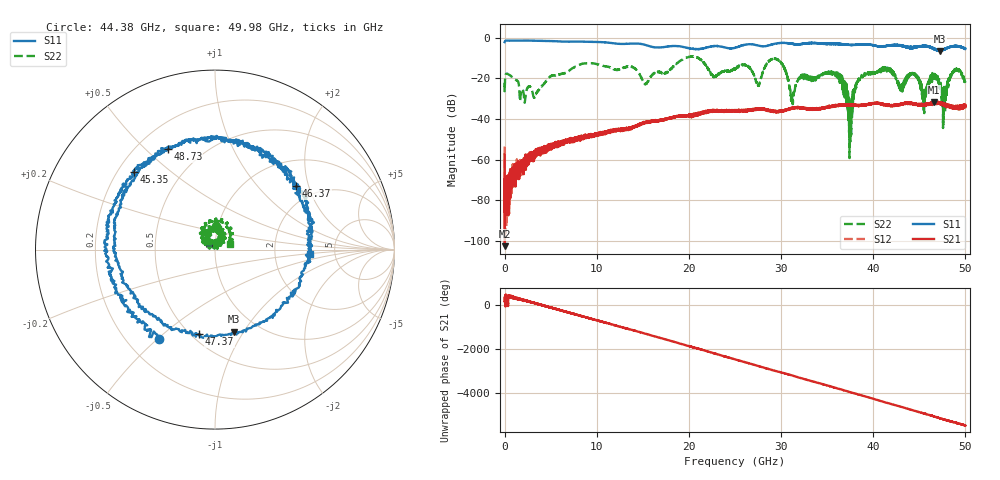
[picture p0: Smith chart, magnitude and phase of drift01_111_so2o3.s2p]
!Created with skrf (http://scikit-rf.org).
# Hz S RI R 50.0
!freq ReS11 ImS11 ReS21 ImS21 ReS12 ImS12 ReS22 ImS22
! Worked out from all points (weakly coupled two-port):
!   10001 points, 300 kHz to 50 GHz, reference 50 ohm
!   highest |S21| = -31.52 dB at 46.58 GHz (marker M1); lowest = -102.5 dB at 25.3 MHz (marker M2)
!   lowest |S11| = -6.6 dB at 47.22 GHz (marker M3), VSWR 2.77, Z = 38.6 - j45.2 ohm
!   |S11| at or under -10 dB: nowhere
!   |S22| runs from -59.2 to -9.2 dB; largest |S21 - S12| = 0.0039
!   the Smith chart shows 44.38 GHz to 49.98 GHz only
!   S11 on the Smith chart (normalised r, x): 44.38 GHz: 0.33, -0.51; 45.35 GHz: 0.27, +0.38; 46.37 GHz: 1.57, +1.66; 47.37 GHz: 0.55, -0.67; 48.73 GHz: 0.32, +0.59; 49.98 GHz: 3.22, -0.23
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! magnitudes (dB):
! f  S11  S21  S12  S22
! 300 kHz  -2.1  -57.5  -53.5  -22.1
! 25.3 MHz  -1.9  -102.5  -79.7  -23.1
! 3.29 GHz  -1.5  -58.4  -55.8  -28.9
! 8.335 GHz  -1.9  -49.6  -48.9  -12.9
! 16.67 GHz  -4.8  -40.6  -40.9  -16.6
! 25 GHz  -5.0  -35.8  -35.5  -15.4
! 29.58 GHz  -2.8  -36.2  -36.5  -10.6
! 31.24 GHz  -3.0  -34.5  -34.6  -31.8
! 33.34 GHz  -2.6  -35.1  -34.9  -20.2
! 36.08 GHz  -2.9  -33.4  -33.4  -18.3
! 37.49 GHz  -3.6  -33.3  -33.2  -31.9
! 38.65 GHz  -3.3  -33.1  -33.2  -19.7
! 41.67 GHz  -3.9  -33.2  -33.2  -15.6
! 44.38 GHz  -4.6  -32.3  -32.7  -17.5
! 45.35 GHz  -4.1  -33.0  -33.2  -26.0
! 46.37 GHz  -4.8  -32.0  -32.0  -20.0
! 46.58 GHz  -5.4  -31.5  -32.0  -18.5
! 47.22 GHz  -6.6  -31.7  -31.9  -24.2
! 47.37 GHz  -6.4  -32.4  -32.6  -24.8
! 48.73 GHz  -4.2  -34.9  -34.2  -16.4
! 49.98 GHz  -5.6  -33.7  -33.6  -21.0
! 50 GHz  -5.4  -34.1  -33.9  -21.4
